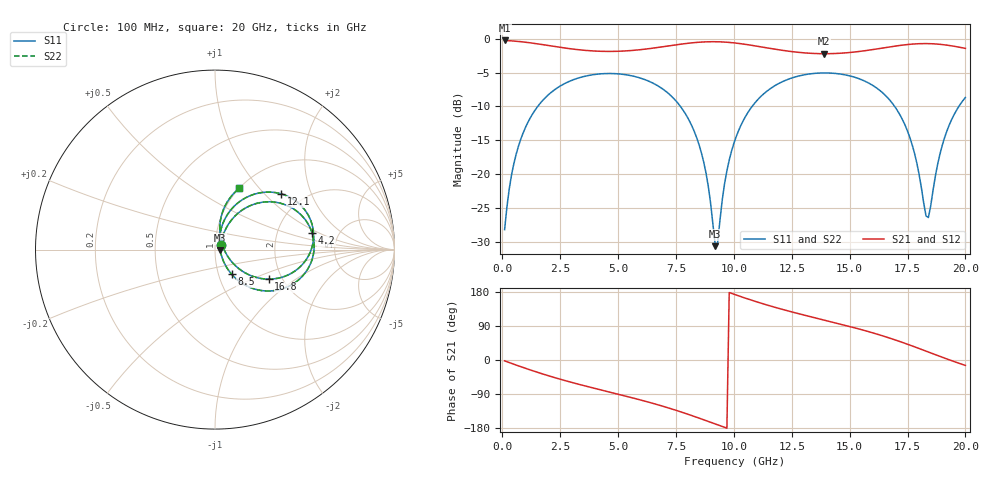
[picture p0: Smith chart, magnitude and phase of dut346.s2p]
! Touchstone file exported from HFSS 2026.1.0
!  File:  C:/ffzhzh/LocalFiles/Ansys_Project_Files/temp_train_TSV_RDL_346_1783035700_4048.aedt
!  Generated:  08:02:11 AM Jul  3, 2026
!  Design:  TSV_RDL
!  Project:  temp_train_TSV_RDL_346_1783035700_4048
! Variables:
!  h_bsmrdl = 2.86um
!  h_ox = 20um
!  h_rdl = 5um
!  h_sub = 88.91um
!  h_tmrdl = 4.3um
!  h_tsv = 88.91um
!  h_via = 3um
!  l_bsmrdl = 797.57um
!  l_sub = 5839.14um
!  l_tmrdl = 730.61um
!  m_sub = 200um
!  pitch = 55.45um
!  r_tsv = 14.8um
!  s_tmrdl = 10um
!  w_bsmrdl = 29.69um
!  w_sub = 500um
!  w_tmrdl = 11.64um
!  x_tsv_center1 = 736.43um
!  x_tsv_center2 = 1563.69um
!  x_tsv_center3 = 2305.94um
!  x_tsv_center4 = 3133.2um
!  x_tsv_center5 = 3875.45um
!  x_tsv_center6 = 4702.71um
# GHz S MA R 50.000000
! Terminal data exported
! Port[1] = TM_RDL1_1_T1
! Port[2] = TM_RDL5_1_T1
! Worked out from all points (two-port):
!   200 points, 100 MHz to 20 GHz, reference 50 ohm
!   highest |S21| = -0.27 dB at 100 MHz (marker M1); lowest = -2.2 dB at 13.9 GHz (marker M2)
!   |S21| within 3 dB of the highest: start of sweep to end of sweep
!   lowest |S11| = -30.6 dB at 9.2 GHz (marker M3), VSWR 1.06, Z = 53 - j0.446 ohm
!   |S11| at or under -10 dB: start of sweep to 1.531 GHz; 7.694 GHz to 10.79 GHz (3.096 GHz wide, 33.5 % of centre); 16.94 GHz to 19.72 GHz (2.773 GHz wide, 15.1 % of centre)
!   |S22| runs from -30.7 to -5.1 dB; largest |S21 - S12| = 1.7e-14
!   S11 on the Smith chart (normalised r, x): 100 MHz: 1.06, +0.05; 4.2 GHz: 3.19, +0.84; 8.5 GHz: 1.15, -0.32; 12.1 GHz: 1.55, +1.25; 16.8 GHz: 1.70, -0.63; 20 GHz: 1.00, +0.79
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0.1  0.03911 36.0  0.969 -2.3  0.969 -2.3  0.03911 36.0
! Gamma 0 0 0 0
! Port Impedance 50 0 50 0
0.5  0.12 62.3  0.9594 -11.2  0.9594 -11.2  0.12 62.3
1.1  0.2402 57.6  0.9361 -24.0  0.9361 -24.0  0.2402 57.6
3.5  0.5246 19.9  0.8212 -67.3  0.8212 -67.3  0.5246 19.9
4.2  0.549 9.6  0.8068 -78.1  0.8068 -78.1  0.549 9.6
6.8  0.4399 -29.4  0.8643 -119.6  0.8643 -119.6  0.4399 -29.4
8.5  0.1646 -56.0  0.9405 -153.4  0.9405 -153.4  0.1645 -56.1
8.9  0.08083 -54.0  0.9478 -162.1  0.9478 -162.1  0.08077 -54.1
9.2  0.02952 -8.2  0.9485 -168.8  0.9485 -168.8  0.02931 -8.3
9.3  0.03129 32.8  0.9478 -171.0  0.9478 -171.0  0.03108 33.0
9.7  0.1062 73.1  0.9404 -179.8  0.9404 -179.8  0.1061 73.2
10.1  0.189 71.5  0.9263 171.5  0.9263 171.5  0.189 71.6
10.9  0.3343 59.5  0.8851 155.2  0.8851 155.2  0.3343 59.5
12.1  0.4816 40.2  0.8194 133.5  0.8194 133.5  0.4816 40.2
13.4  0.5524 21.2  0.7779 112.9  0.7779 112.9  0.5524 21.2
13.9  0.5585 14.2  0.7739 105.4  0.7739 105.4  0.5585 14.2
16.7  0.3575 -27.3  0.8668 58.4  0.8668 58.4  0.3576 -27.3
16.8  0.3412 -28.8  0.872 56.4  0.872 56.4  0.3413 -28.8
17.6  0.1869 -38.4  0.9077 39.4  0.9077 39.4  0.187 -38.4
18.4  0.04796 31.2  0.9186 21.1  0.9186 21.1  0.04797 31.1
19.1  0.1859 79.4  0.8998 5.0  0.8998 5.0  0.1859 79.4
20  0.368 68.3  0.8471 -14.3  0.8471 -14.3  0.368 68.3
